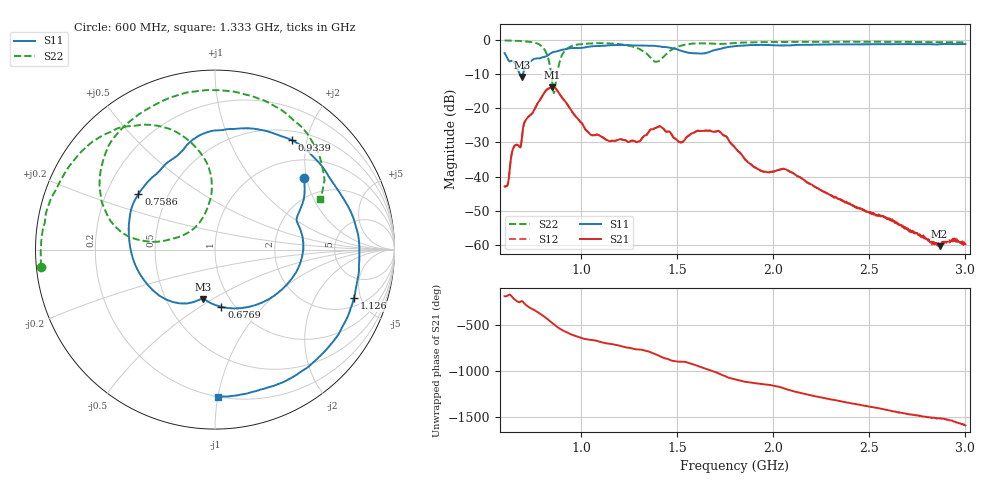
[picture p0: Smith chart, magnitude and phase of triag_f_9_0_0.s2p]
#  HZ  S  RI  R  50.00
! Rohde & Schwarz ZVB8 2Ports - Version 2.81 - 1145.1010k08 SN: 100113
! Date: 2016-05-03 01:37:33
! Measurements: S11 S21 S12 S22
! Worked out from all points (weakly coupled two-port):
!   1000 points, 600 MHz to 3 GHz, reference 50 ohm
!   highest |S21| = -13.90 dB at 845 MHz (marker M1); lowest = -60.3 dB at 2.865 GHz (marker M2)
!   lowest |S11| = -10.9 dB at 688.9 MHz (marker M3), VSWR 1.79, Z = 37.8 - j22.7 ohm
!   |S11| at or under -10 dB: 677.9 MHz to 695.8 MHz (17.89 MHz wide, 2.6 % of centre)
!   |S22| runs from -15.6 to -0.2 dB; largest |S21 - S12| = 0.0019
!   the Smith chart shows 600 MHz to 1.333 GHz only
!   S11 on the Smith chart (normalised r, x): 600 MHz: 1.43, +1.93; 676.9 MHz: 0.87, -0.62; 758.6 MHz: 0.34, +0.29; 933.9 MHz: 0.64, +1.75; 1.126 GHz: 2.65, -4.35; 1.333 GHz: 0.20, -1.00
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6e8  0.4956 0.4003  -0.00716 -2.62e-05  -0.00727 -1.87e-05  -0.969 -0.0948
6.456456e8  0.472 -0.0844  -0.0243 0.00948  -0.0244 0.00935  -0.9585 0.117
6.768769e8  0.0353 -0.3191  -0.0115 0.0247  -0.0116 0.0246  -0.9237 0.2584
6.888889e8  -0.068 -0.2757  -0.0211 0.0271  -0.0213 0.0269  -0.8979 0.3132
7.585586e8  -0.4264 0.3099  0.091 0.0408  0.0904 0.041  -0.6514 0.6209
8.066066e8  -0.2285 0.5106  0.1254 -0.1108  0.1255 -0.1105  -0.265 0.6764
8.45045e8  -0.0828 0.638  -0.0572 -0.1936  -0.0567 -0.1934  -0.0261 0.2799
8.786787e8  0.1182 0.6733  -0.1663 -0.051  -0.1659 -0.0511  -0.3793 0.046
9.339339e8  0.4286 0.6093  -0.0727 0.0765  -0.0726 0.0759  -0.6396 0.4222
1.001201e9  0.6736 0.3481  0.00777 0.0602  0.00734 0.0601  -0.4497 0.7341
1.126126e9  0.7734 -0.2699  0.0312 0.0155  0.0312 0.0156  0.0752 0.8837
1.332733e9  0.0146 -0.8193  0.0216 -0.0337  0.0216 -0.0335  0.5859 0.28
1.4e9  -0.2811 -0.7508  -0.0153 -0.0513  -0.0152 -0.0514  0.4044 0.2621
1.474474e9  -0.5086 -0.552  -0.0381 -0.00892  -0.0379 -0.00915  0.6387 0.3428
1.577778e9  -0.5658 -0.2854  -0.0398 0.0162  -0.0397 0.016  0.8732 -0.0512
1.801201e9  -0.7734 0.2283  0.0256 -0.00515  0.0257 -0.00504  0.4976 -0.7385
1.990991e9  -0.3106 0.7695  0.003 -0.0114  0.00308 -0.0113  -0.0808 -0.9173
2.2e9  0.4505 0.7128  -0.00758 0.0009  -0.00757 0.000867  -0.6216 -0.6901
2.401802e9  0.8572 0.00282  4.4e-05 0.00389  7.37e-06 0.00394  -0.8909 -0.2668
2.601201e9  0.4825 -0.7109  0.00242 0.000385  0.00238 0.00045  -0.9106 0.1868
2.865465e9  -0.4601 -0.7199  0.000204 -0.000941  0.000268 -0.000949  -0.6031 0.696
3e9  -0.7727 -0.3808  -0.00093 -0.000437  -0.000895 -0.00048  -0.3329 0.848
